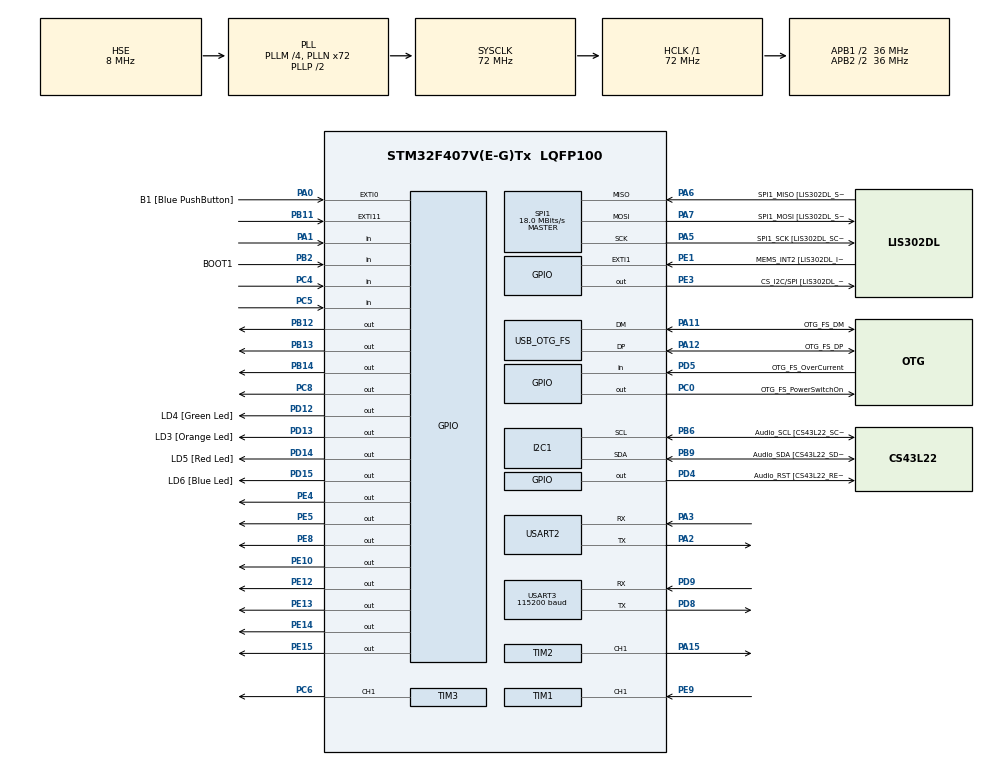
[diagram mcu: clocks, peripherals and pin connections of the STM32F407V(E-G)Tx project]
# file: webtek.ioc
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Mcu.Family=STM32F4
Mcu.Name=STM32F407V(E-G)Tx
Mcu.Package=LQFP100
NVIC.OTG_FS_IRQn=true\:0\:0\:false\:false\:true\:true\:true\:true
NVIC.PriorityGroup=NVIC_PRIORITYGROUP_0
NVIC.TIM1_CC_IRQn=true\:0\:0\:false\:false\:true\:true\:true\:true
PA0-WKUP.GPIO_Label=B1 [Blue PushButton]
PA0-WKUP.GPIO_ModeDefaultEXTI=GPIO_MODE_EVT_RISING
PA0-WKUP.GPIO_PuPd=GPIO_NOPULL
PA0-WKUP.Signal=GPXTI0
PA1.Signal=GPIO_Input
PA10.Signal=USART1_RX
PA11.GPIO_Label=OTG_FS_DM
PA11.GPIO_Mode=GPIO_MODE_AF_PP
PA11.GPIO_PuPd=GPIO_NOPULL
PA11.GPIO_Speed=GPIO_SPEED_FREQ_LOW
PA11.Mode=Host_Only
PA11.Signal=USB_OTG_FS_DM
PA12.GPIO_Label=OTG_FS_DP
PA12.GPIO_Mode=GPIO_MODE_AF_PP
PA12.GPIO_PuPd=GPIO_NOPULL
PA12.GPIO_Speed=GPIO_SPEED_FREQ_LOW
PA12.Mode=Host_Only
PA12.Signal=USB_OTG_FS_DP
PA13.GPIO_Label=SWDIO
PA13.Mode=Serial_Wire
PA13.Signal=SYS_JTMS-SWDIO
PA14.GPIO_Label=SWCLK
PA14.Mode=Serial_Wire
PA14.Signal=SYS_JTCK-SWCLK
PA15.Signal=S_TIM2_CH1_ETR
PA2.Mode=Asynchronous
PA2.Signal=USART2_TX
PA3.Mode=Asynchronous
PA3.Signal=USART2_RX
PA4.GPIO_Label=I2S3_WS [CS43L22_LRCK]
PA4.GPIO_Mode=GPIO_MODE_AF_PP
PA4.GPIO_PuPd=GPIO_NOPULL
PA4.GPIO_Speed=GPIO_SPEED_FREQ_LOW
PA4.Signal=I2S3_WS
PA5.GPIO_Label=SPI1_SCK [LIS302DL_SCL/SPC]
PA5.GPIO_Mode=GPIO_MODE_AF_PP
PA5.GPIO_PuPd=GPIO_NOPULL
PA5.GPIO_Speed=GPIO_SPEED_FREQ_LOW
PA5.Mode=Full_Duplex_Master
PA5.Signal=SPI1_SCK
PA6.GPIO_Label=SPI1_MISO [LIS302DL_SDO]
PA6.GPIO_Mode=GPIO_MODE_AF_PP
PA6.GPIO_PuPd=GPIO_NOPULL
PA6.GPIO_Speed=GPIO_SPEED_FREQ_LOW
PA6.Mode=Full_Duplex_Master
PA6.Signal=SPI1_MISO
PA7.GPIO_Label=SPI1_MOSI [LIS302DL_SDA/SDI/SDO]
PA7.GPIO_Mode=GPIO_MODE_AF_PP
PA7.GPIO_PuPd=GPIO_NOPULL
PA7.GPIO_Speed=GPIO_SPEED_FREQ_LOW
PA7.Mode=Full_Duplex_Master
PA7.Signal=SPI1_MOSI
PA9.Signal=USART1_TX
PB10.GPIO_Label=CLK_IN [MP45DT02_CLK]
PB10.GPIO_Mode=GPIO_MODE_AF_PP
PB10.GPIO_PuPd=GPIO_NOPULL
PB10.GPIO_Speed=GPIO_SPEED_FREQ_LOW
PB10.Signal=I2S2_CK
PB11.Signal=GPXTI11
PB12.Signal=GPIO_Output
PB13.Signal=GPIO_Output
PB14.Signal=GPIO_Output
PB2.GPIO_Label=BOOT1
PB2.GPIO_Mode=GPIO_MODE_INPUT
PB2.GPIO_PuPd=GPIO_NOPULL
PB2.Signal=GPIO_Input
PB3.GPIO_Label=SWO
PB3.Signal=SYS_JTDO-SWO
PB6.GPIO_Label=Audio_SCL [CS43L22_SCL]
PB6.GPIO_Mode=GPIO_MODE_AF_OD
PB6.GPIO_Pu=GPIO_PULLUP
PB6.GPIO_PuPd=GPIO_NOPULL
PB6.GPIO_Speed=GPIO_SPEED_FREQ_LOW
PB6.Mode=I2C
PB6.Signal=I2C1_SCL
PB9.GPIO_Label=Audio_SDA [CS43L22_SDA]
PB9.GPIO_Mode=GPIO_MODE_AF_OD
PB9.GPIO_Pu=GPIO_PULLUP
PB9.GPIO_PuPd=GPIO_NOPULL
PB9.GPIO_Speed=GPIO_SPEED_FREQ_LOW
PB9.Mode=I2C
PB9.Signal=I2C1_SDA
PC0.GPIO_Label=OTG_FS_PowerSwitchOn
PC0.GPIO_PuPd=GPIO_NOPULL
PC0.GPIO_Speed=GPIO_SPEED_FREQ_LOW
PC0.PinState=GPIO_PIN_SET
PC0.Signal=GPIO_Output
PC10.GPIO_Label=I2S3_SCK [CS43L22_SCLK]
PC10.GPIO_Mode=GPIO_MODE_AF_PP
PC10.GPIO_PuPd=GPIO_NOPULL
PC10.GPIO_Speed=GPIO_SPEED_FREQ_LOW
PC10.Signal=I2S3_CK
PC12.GPIO_Label=I2S3_SD [CS43L22_SDIN]
PC12.GPIO_Mode=GPIO_MODE_AF_PP
PC12.GPIO_PuPd=GPIO_NOPULL
PC12.GPIO_Speed=GPIO_SPEED_FREQ_LOW
PC12.Signal=I2S3_SD
PC14-OSC32_IN.GPIO_Label=PC14-OSC32_IN
PC14-OSC32_IN.Signal=RCC_OSC32_IN
PC15-OSC32_OUT.GPIO_Label=PC15-OSC32_OUT
PC15-OSC32_OUT.Signal=RCC_OSC32_OUT
PC3.GPIO_Label=PDM_OUT [MP45DT02_DOUT]
PC3.GPIO_Mode=GPIO_MODE_AF_PP
PC3.GPIO_PuPd=GPIO_NOPULL
PC3.GPIO_Speed=GPIO_SPEED_FREQ_LOW
PC3.Signal=I2S2_SD
PC4.Signal=GPIO_Input
PC5.Signal=GPIO_Input
PC6.Signal=S_TIM3_CH1
PC7.GPIO_Label=I2S3_MCK [CS43L22_MCLK]
PC7.GPIO_Mode=GPIO_MODE_AF_PP
PC7.GPIO_PuPd=GPIO_NOPULL
PC7.GPIO_Speed=GPIO_SPEED_FREQ_LOW
PC7.Signal=I2S3_MCK
PC8.Signal=GPIO_Output
PD12.GPIO_Label=LD4 [Green Led]
PD12.GPIO_PuPd=GPIO_NOPULL
PD12.GPIO_Speed=GPIO_SPEED_FREQ_LOW
PD12.Signal=GPIO_Output
PD13.GPIO_Label=LD3 [Orange Led]
PD13.GPIO_PuPd=GPIO_NOPULL
PD13.GPIO_Speed=GPIO_SPEED_FREQ_LOW
PD13.Signal=GPIO_Output
PD14.GPIO_Label=LD5 [Red Led]
PD14.GPIO_PuPd=GPIO_NOPULL
PD14.GPIO_Speed=GPIO_SPEED_FREQ_LOW
PD14.Signal=GPIO_Output
PD15.GPIO_Label=LD6 [Blue Led]
PD15.GPIO_PuPd=GPIO_NOPULL
PD15.GPIO_Speed=GPIO_SPEED_FREQ_LOW
PD15.Signal=GPIO_Output
PD4.GPIO_Label=Audio_RST [CS43L22_RESET]
PD4.GPIO_PuPd=GPIO_NOPULL
PD4.GPIO_Speed=GPIO_SPEED_FREQ_LOW
PD4.Signal=GPIO_Output
PD5.GPIO_Label=OTG_FS_OverCurrent
PD5.GPIO_Mode=GPIO_MODE_INPUT
PD5.GPIO_PuPd=GPIO_NOPULL
PD5.Signal=GPIO_Input
PD8.Mode=Asynchronous
PD8.Signal=USART3_TX
PD9.Mode=Asynchronous
PD9.Signal=USART3_RX
PE1.GPIO_Label=MEMS_INT2 [LIS302DL_INT2]
PE1.GPIO_ModeDefaultEXTI=GPIO_MODE_EVT_RISING
PE1.GPIO_PuPd=GPIO_NOPULL
PE1.Signal=GPXTI1
PE10.Signal=GPIO_Output
PE12.Signal=GPIO_Output
PE13.Signal=GPIO_Output
PE14.Signal=GPIO_Output
PE15.Signal=GPIO_Output
PE3.GPIO_Label=CS_I2C/SPI [LIS302DL_CS_I2C/SPI]
PE3.GPIO_PuPd=GPIO_NOPULL
PE3.GPIO_Speed=GPIO_SPEED_FREQ_LOW
PE3.Signal=GPIO_Output
PE4.Signal=GPIO_Output
PE5.Signal=GPIO_Output
PE8.Signal=GPIO_Output
PE9.Signal=S_TIM1_CH1
PH0-OSC_IN.GPIO_Label=PH0-OSC_IN
PH0-OSC_IN.Mode=HSE-External-Oscillator
PH0-OSC_IN.Signal=RCC_OSC_IN
PH1-OSC_OUT.GPIO_Label=PH1-OSC_OUT
PH1-OSC_OUT.Mode=HSE-External-Oscillator
PH1-OSC_OUT.Signal=RCC_OSC_OUT
ProjectManager.HeapSize=0x200
ProjectManager.StackSize=0x400
ProjectManager.TargetToolchain=STM32CubeIDE
RCC.48MHZClocksFreq_Value=48000000
RCC.AHBFreq_Value=72000000
RCC.APB1CLKDivider=RCC_HCLK_DIV2
RCC.APB1Freq_Value=36000000
RCC.APB1TimFreq_Value=72000000
RCC.APB2CLKDivider=RCC_HCLK_DIV2
RCC.APB2Freq_Value=36000000
RCC.APB2TimFreq_Value=72000000
RCC.CortexFreq_Value=72000000
RCC.HCLKFreq_Value=72000000
RCC.HSE_VALUE=8000000
RCC.HSI_VALUE=16000000
RCC.LSE_VALUE=32768
RCC.PLLI2SN=50
RCC.PLLM=4
RCC.PLLN=72
RCC.PLLQ=3
RCC.SYSCLKFreq_VALUE=72000000
RCC.SYSCLKSource=RCC_SYSCLKSOURCE_PLLCLK
RCC.VCOOutputFreq_Value=144000000
SH.S_TIM1_CH1.0=TIM1_CH1,Input_Capture1_from_TI1
SH.S_TIM2_CH1_ETR.0=TIM2_CH1,PWM Generation1 CH1
SH.S_TIM3_CH1.0=TIM3_CH1,PWM Generation1 CH1
SPI1.BaudRatePrescaler-Full_Duplex_Master=SPI_BAUDRATEPRESCALER_2
SPI1.CalculateBaudRate=18.0 MBits/s
SPI1.CalculateBaudRate-Full_Duplex_Master=42.0 MBits/s
SPI1.Direction=SPI_DIRECTION_2LINES
SPI1.Mode=SPI_MODE_MASTER
SPI1.Mode-Full_Duplex_Master=SPI_MODE_MASTER
SPI1.VirtualType=VM_MASTER
TIM1.Channel-Input_Capture1_from_TI1=TIM_CHANNEL_1
TIM1.Period=0xffff-1
TIM1.Prescaler=72-1
TIM2.Channel-PWM\ Generation1\ CH1=TIM_CHANNEL_1
TIM2.Period=1199
TIM2.Prescaler=1200
TIM3.Channel-PWM\ Generation1\ CH1=TIM_CHANNEL_1
TIM3.Period=1199
TIM3.Prescaler=1200
USART2.VirtualMode=VM_ASYNC
USART3.BaudRate=115200
USART3.VirtualMode=VM_ASYNC
USB_HOST.BSP.number=1
USB_HOST.USBH_HandleTypeDef-CDC_FS=hUsbHostFS
USB_HOST.VirtualModeFS=Cdc
USB_HOST0.BSP.STBoard=false
USB_HOST0.BSP.api=Unknown
USB_HOST0.BSP.i2caddr=0
USB_HOST0.BSP.i2creg=0
USB_HOST0.BSP.instance=PC0
USB_HOST0.BSP.ip=GPIO
USB_HOST0.BSP.mode=Output
USB_HOST0.BSP.name=Drive_VBUS_FS
USB_HOST0.BSP.solution=PC0
USB_OTG_FS.VirtualMode=Host_Only
USB_OTG_FS.phy_itface=HCD_PHY_EMBEDDED
VP_USB_HOST_VS_USB_HOST_CDC_FS.Mode=CDC_FS
board=STM32F407G-DISC1

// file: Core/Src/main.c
/* USER CODE BEGIN Header */
/**
 **********
 * @file           : main.c
 * @brief          : Main program body
 **********
 * @attention
 *
 * Copyright (c) 2023 STMicroelectronics.
 * All rights reserved.
 *
 * This software is licensed under terms that can be found in the LICENSE file
 * in the root directory of this software component.
 * If no LICENSE file comes with this software, it is provided AS-IS.
 *
 **********
 */
/* USER CODE END Header */
#include "main.h"
#include "usb_host.h"

/* USER CODE BEGIN Includes */
#include "string.h"
#include "stdio.h"
#include <stdlib.h>

#define TRIG_PIN GPIO_PIN_8
#define TRIG_PORT GPIOE

/* USER CODE END Includes */

 I2C_HandleTypeDef hi2c1;

SPI_HandleTypeDef hspi1;

TIM_HandleTypeDef htim1;
TIM_HandleTypeDef htim2;
TIM_HandleTypeDef htim3;

UART_HandleTypeDef huart2;
UART_HandleTypeDef huart3;

/* USER CODE BEGIN PV */
uint8_t yagmur_status =0;
uint16_t gaz_status =0;
uint8_t touch_status =0;
uint8_t mesafe_status =0;
uint8_t count=0;
uint32_t IC_Val1 = 0;
uint32_t IC_Val2 = 0;
uint32_t Difference = 0;
uint8_t Is_First_Captured = 0;  // is the first value captured ?
uint8_t Distance  = 0;
uint8_t i=0;
char data_take[8];
char data_send[6];
int data_cati=0;
int data_yanginbuzzer=0;
int data_fan=0;
int data_agilkapi=0;
int data_agilbuzzer=0;
int data_yem=0;
/* USER CODE END PV */

void SystemClock_Config(void);
static void MX_GPIO_Init(void);
static void MX_I2C1_Init(void);
static void MX_SPI1_Init(void);
static void MX_TIM1_Init(void);
static void MX_TIM2_Init(void);
static void MX_TIM3_Init(void);
static void MX_USART2_UART_Init(void);
static void MX_USART3_UART_Init(void);
void MX_USB_HOST_Process(void);

/* USER CODE BEGIN 0 */
void delay(uint16_t time)
{
	__HAL_TIM_SET_COUNTER(&htim1,0);
	while(__HAL_TIM_GET_COUNTER(&htim1)<time);
}
void HAL_TIM_IC_CaptureCallback(TIM_HandleTypeDef *htim)
{
	if (htim->Channel == HAL_TIM_ACTIVE_CHANNEL_1)  // if the interrupt source is channel1
	{
		if (Is_First_Captured==0) // if the first value is not captured
		{
			IC_Val1 = HAL_TIM_ReadCapturedValue(htim, TIM_CHANNEL_1); // read the first value
			Is_First_Captured = 1;  // set the first captured as true
			// Now change the polarity to falling edge
			__HAL_TIM_SET_CAPTUREPOLARITY(htim, TIM_CHANNEL_1, TIM_INPUTCHANNELPOLARITY_FALLING);
		}

		else if (Is_First_Captured==1)   // if the first is already captured
		{
			IC_Val2 = HAL_TIM_ReadCapturedValue(htim, TIM_CHANNEL_1);  // read second value
			__HAL_TIM_SET_COUNTER(htim, 0);  // reset the counter

			if (IC_Val2 > IC_Val1)
			{
				Difference = IC_Val2-IC_Val1;
			}

			else if (IC_Val1 > IC_Val2)
			{
				Difference = (0xffff - IC_Val1) + IC_Val2;
			}

			Distance = Difference * .034/2;
			Is_First_Captured = 0; // set it back to false

			// set polarity to rising edge
			__HAL_TIM_SET_CAPTUREPOLARITY(htim, TIM_CHANNEL_1, TIM_INPUTCHANNELPOLARITY_RISING);
			__HAL_TIM_DISABLE_IT(&htim1, TIM_IT_CC1);
		}
	}
}
void HCSR04_Read (void)// pe8 trig,pe9 echo
{
	HAL_GPIO_WritePin(TRIG_PORT, TRIG_PIN, GPIO_PIN_SET);  // pull the TRIG pin HIGH
	delay(10);  // wait for 10 us
	HAL_GPIO_WritePin(TRIG_PORT, TRIG_PIN, GPIO_PIN_RESET);  // pull the TRIG pin low

	__HAL_TIM_ENABLE_IT(&htim1, TIM_IT_CC1);
}

void catikontrol(void)
{
	HAL_UART_Transmit(&huart3, (uint8_t*)data_cati, 1, 100); //uart3 PD8->TX, PD9->RX
}

void yanginbuzzer(void)
{
	//gaz sensoru buzzer
	if(data_yanginbuzzer==1)
	{
		HAL_GPIO_WritePin(GPIOC, GPIO_PIN_8,GPIO_PIN_SET); //pc8 gaz buzzerı
	}
	else if(data_yanginbuzzer==2)
	{
		HAL_GPIO_WritePin(GPIOC, GPIO_PIN_8,GPIO_PIN_RESET); //pc8 gaz buzzerı
	}
}

void fankontrol(void)
{

	if(data_fan==1)
	{
		HAL_GPIO_WritePin(GPIOE, GPIO_PIN_12,GPIO_PIN_SET);
		HAL_GPIO_WritePin(GPIOE, GPIO_PIN_13,GPIO_PIN_RESET);
		HAL_GPIO_WritePin(GPIOE, GPIO_PIN_14,GPIO_PIN_RESET);
		HAL_GPIO_WritePin(GPIOE, GPIO_PIN_15,GPIO_PIN_RESET);
	}

	else if(data_fan==2)
	{
		HAL_GPIO_WritePin(GPIOE, GPIO_PIN_12,GPIO_PIN_RESET);
		HAL_GPIO_WritePin(GPIOE, GPIO_PIN_13,GPIO_PIN_SET);
		HAL_GPIO_WritePin(GPIOE, GPIO_PIN_14,GPIO_PIN_RESET);
		HAL_GPIO_WritePin(GPIOE, GPIO_PIN_15,GPIO_PIN_RESET);
	}

	else if(data_fan==3)
	{
		HAL_GPIO_WritePin(GPIOE, GPIO_PIN_12,GPIO_PIN_RESET);
		HAL_GPIO_WritePin(GPIOE, GPIO_PIN_13,GPIO_PIN_RESET);
		HAL_GPIO_WritePin(GPIOE, GPIO_PIN_14,GPIO_PIN_SET);
		HAL_GPIO_WritePin(GPIOE, GPIO_PIN_15,GPIO_PIN_RESET);
	}

	else if(data_fan==4)
	{
		HAL_GPIO_WritePin(GPIOE, GPIO_PIN_12,GPIO_PIN_RESET);
		HAL_GPIO_WritePin(GPIOE, GPIO_PIN_13,GPIO_PIN_RESET);
		HAL_GPIO_WritePin(GPIOE, GPIO_PIN_14,GPIO_PIN_RESET);
		HAL_GPIO_WritePin(GPIOE, GPIO_PIN_15,GPIO_PIN_SET);
	}

}

void agilkapisi(void)
{
	if(data_agilkapi == 1)
	{
		//kapı açmak için
		htim3.Instance->CCR1 = 25;  // duty cycle is 1.5 ms  //pc6
		//		HAL_Delay(2000);
	}
	else if(data_agilkapi == 0)
	{
		//kapı kapatmak için
		htim3.Instance->CCR1 = 75;  // duty cycle is .5 ms
		//		HAL_Delay(2000);
	}

}

void agilbuzzer(void)
{
	//agil buzzer
	if(data_agilbuzzer==1)
	{
		HAL_GPIO_WritePin(GPIOE, GPIO_PIN_10,GPIO_PIN_SET); //pe10 agil buzzerı
	}
	else if(data_agilbuzzer==0)
	{
		HAL_GPIO_WritePin(GPIOE, GPIO_PIN_10,GPIO_PIN_RESET); //pe10 agil buzzerı
	}

}

void yemlik(void)
{

	if(data_yem==1)
	{
		if(13<mesafe_status && mesafe_status<=16)
		{
			//kapı açmak için
			htim2.Instance->CCR1 = 25;  // duty cycle is 1.5 ms //pa15
			HAL_Delay(2000);
		}
	}
	else if(data_yem==2)
	{
		if(10<mesafe_status && mesafe_status<=13)
		{
			//kapı açmak için
			htim2.Instance->CCR1 = 25;  // duty cycle is 1.5 ms
			HAL_Delay(2000);
		}
	}
	else if(data_yem==3)
	{
		if(6<mesafe_status && mesafe_status<=10)
		{
			//kapı açmak için
			htim2.Instance->CCR1 = 25;  // duty cycle is 1.5 ms
			HAL_Delay(2000);
		}

	}
	//kapı kapatma kodu
	htim2.Instance->CCR1 = 75;  // duty cycle is .5 ms
	HAL_Delay(2000);

}

/* USER CODE END 0 */

int main(void)
{

  /* MCU Configuration--------------------------------------------------------*/

  /* Reset of all peripherals, Initializes the Flash interface and the Systick. */
  HAL_Init();

  /* USER
   * CODE BEGIN Init */

  /* USER CODE END Init */

  /* Configure the system clock */
  SystemClock_Config();

  /* Initialize all configured peripherals */
  MX_GPIO_Init();
  MX_I2C1_Init();
  MX_SPI1_Init();
  MX_USB_HOST_Init();
  MX_TIM1_Init();
  MX_TIM2_Init();
  MX_TIM3_Init();
  MX_USART2_UART_Init();
  MX_USART3_UART_Init();
  /* USER CODE BEGIN 2 */
	HAL_TIM_IC_Start_IT(&htim1, TIM_CHANNEL_1);
	HAL_TIM_PWM_Start(&htim2, TIM_CHANNEL_1);
	HAL_TIM_PWM_Start(&htim3, TIM_CHANNEL_1);
  /* USER CODE END 2 */

  /* Infinite loop */
  /* USER CODE BEGIN WHILE */
	while (1)
	{
		yagmur_status = HAL_GPIO_ReadPin(GPIOA, GPIO_PIN_1);
		if(yagmur_status==0)
		{
			data_send[0]='1';
		}
		else
		{
			data_send[0]='0';
		}

		gaz_status = HAL_GPIO_ReadPin(GPIOC, GPIO_PIN_4);
		if(gaz_status==0)
		{
			data_send[1]='1';
		}
		else
		{
			data_send[1]='0';
		}

		touch_status = HAL_GPIO_ReadPin(GPIOC, GPIO_PIN_5);
		if(touch_status==1)
		{
			count=count+1;

			if(count>9)
			{
				count=0;
			}

			HAL_Delay(500);
			char c=count+'0';
			data_send[2]=c;

		}

		HCSR04_Read();
		HAL_Delay(200);

		mesafe_status=Distance;

		if(mesafe_status==16)
		{
			data_send[3]=0+'0';
			data_send[4]=0+'0';
		}
		else if(mesafe_status==15)
		{
			data_send[3]=0+'0';
			data_send[4]=1+'0';
		}
		else if(mesafe_status==14)
		{
			data_send[3]=0+'0';
			data_send[4]=2+'0';
		}
		else if(mesafe_status==13)
		{
			data_send[3]=0+'0';
			data_send[4]=3+'0';
		}
		else if(mesafe_status==12)
		{
			data_send[3]=0+'0';
			data_send[4]=4+'0';
		}
		else if(mesafe_status==11)
		{
			data_send[3]=0+'0';
			data_send[4]=5+'0';
		}
		else if(mesafe_status==10)
		{
			data_send[3]=0+'0';
			data_send[4]=6+'0';
		}
		else if(mesafe_status==9)
		{
			data_send[3]=0+'0';
			data_send[4]=7+'0';
		}

		else if(mesafe_status==8)
		{
			data_send[3]=0+'0';
			data_send[4]=8+'0';
		}

		else if(mesafe_status==7)
		{
			data_send[3]=0+'0';
			data_send[4]=9+'0';
		}

		else if(mesafe_status<=6)
		{
			data_send[3]=1+'0';
			data_send[4]=0+'0';
		}

		data_send[3]=((mesafe_status)/10)+'0';
		data_send[4]=((mesafe_status)%10)+'0';

		data_send[5]='>';

		HAL_UART_Transmit(&huart2, data_send, 6, 100);

		HAL_UART_Receive(&huart2, data_take, 7,2000); //pa2 tx, pa3 rx

		data_cati = data_take[1]-'0';
		data_yanginbuzzer = data_take[2]-'0';
		data_fan = data_take[3]-'0';
		data_agilkapi = data_take[4]-'0';
		data_agilbuzzer = data_take[5]-'0';
		data_yem = data_take[6]-'0';

		catikontrol();
		yanginbuzzer();
		fankontrol();
		agilkapisi();
		agilbuzzer();
		yemlik();

		//		//kapı kapatma kodu
		//		htim2.Instance->CCR1 = 25;  // duty cycle is .5 ms
		//		HAL_Delay(2000);
		//		//kapı açmak için
		//		htim2.Instance->CCR1 = 75;  // duty cycle is 1.5 ms
		//		HAL_Delay(2000);
		//kapı açmak için
		//		htim2.Instance->CCR1 = 125;  // duty cycle is 2.5 ms
		//		HAL_Delay(2000);

		//		htim3.Instance->CCR1 = 25;  // duty cycle is .5 ms
		//		HAL_Delay(2000);
		//		htim3.Instance->CCR1 = 75;  // duty cycle is 1.5 ms
		//		HAL_Delay(2000);
		//		htim3.Instance->CCR1 = 125;  // duty cycle is 2.5 ms
		//		HAL_Delay(2000);

    /* USER CODE END WHILE */
    MX_USB_HOST_Process();

	}
}

void SystemClock_Config(void)
{
  RCC_OscInitTypeDef RCC_OscInitStruct = {0};
  RCC_ClkInitTypeDef RCC_ClkInitStruct = {0};

  /** Configure the main internal regulator output voltage
  */
  __HAL_RCC_PWR_CLK_ENABLE();
  __HAL_PWR_VOLTAGESCALING_CONFIG(PWR_REGULATOR_VOLTAGE_SCALE1);

  /** Initializes the RCC Oscillators according to the specified parameters
  * in the RCC_OscInitTypeDef structure.
  */
  RCC_OscInitStruct.OscillatorType = RCC_OSCILLATORTYPE_HSE;
  RCC_OscInitStruct.HSEState = RCC_HSE_ON;
  RCC_OscInitStruct.PLL.PLLState = RCC_PLL_ON;
  RCC_OscInitStruct.PLL.PLLSource = RCC_PLLSOURCE_HSE;
  RCC_OscInitStruct.PLL.PLLM = 4;
  RCC_OscInitStruct.PLL.PLLN = 72;
  RCC_OscInitStruct.PLL.PLLP = RCC_PLLP_DIV2;
  RCC_OscInitStruct.PLL.PLLQ = 3;
  if (HAL_RCC_OscConfig(&RCC_OscInitStruct) != HAL_OK)
  {
    Error_Handler();
  }

  /** Initializes the CPU, AHB and APB buses clocks
  */
  RCC_ClkInitStruct.ClockType = RCC_CLOCKTYPE_HCLK|RCC_CLOCKTYPE_SYSCLK
                              |RCC_CLOCKTYPE_PCLK1|RCC_CLOCKTYPE_PCLK2;
  RCC_ClkInitStruct.SYSCLKSource = RCC_SYSCLKSOURCE_PLLCLK;
  RCC_ClkInitStruct.AHBCLKDivider = RCC_SYSCLK_DIV1;
  RCC_ClkInitStruct.APB1CLKDivider = RCC_HCLK_DIV2;
  RCC_ClkInitStruct.APB2CLKDivider = RCC_HCLK_DIV2;

  if (HAL_RCC_ClockConfig(&RCC_ClkInitStruct, FLASH_LATENCY_2) != HAL_OK)
  {
    Error_Handler();
  }
}

static void MX_I2C1_Init(void)
{

  hi2c1.Instance = I2C1;
  hi2c1.Init.ClockSpeed = 100000;
  hi2c1.Init.DutyCycle = I2C_DUTYCYCLE_2;
  hi2c1.Init.OwnAddress1 = 0;
  hi2c1.Init.AddressingMode = I2C_ADDRESSINGMODE_7BIT;
  hi2c1.Init.DualAddressMode = I2C_DUALADDRESS_DISABLE;
  hi2c1.Init.OwnAddress2 = 0;
  hi2c1.Init.GeneralCallMode = I2C_GENERALCALL_DISABLE;
  hi2c1.Init.NoStretchMode = I2C_NOSTRETCH_DISABLE;
  if (HAL_I2C_Init(&hi2c1) != HAL_OK)
  {
    Error_Handler();
  }

}

static void MX_SPI1_Init(void)
{

  /* SPI1 parameter configuration*/
  hspi1.Instance = SPI1;
  hspi1.Init.Mode = SPI_MODE_MASTER;
  hspi1.Init.Direction = SPI_DIRECTION_2LINES;
  hspi1.Init.DataSize = SPI_DATASIZE_8BIT;
  hspi1.Init.CLKPolarity = SPI_POLARITY_LOW;
  hspi1.Init.CLKPhase = SPI_PHASE_1EDGE;
  hspi1.Init.NSS = SPI_NSS_SOFT;
  hspi1.Init.BaudRatePrescaler = SPI_BAUDRATEPRESCALER_2;
  hspi1.Init.FirstBit = SPI_FIRSTBIT_MSB;
  hspi1.Init.TIMode = SPI_TIMODE_DISABLE;
  hspi1.Init.CRCCalculation = SPI_CRCCALCULATION_DISABLE;
  hspi1.Init.CRCPolynomial = 10;
  if (HAL_SPI_Init(&hspi1) != HAL_OK)
  {
    Error_Handler();
  }

}

static void MX_TIM1_Init(void)
{

  TIM_MasterConfigTypeDef sMasterConfig = {0};
  TIM_IC_InitTypeDef sConfigIC = {0};

  htim1.Instance = TIM1;
  htim1.Init.Prescaler = 72-1;
  htim1.Init.CounterMode = TIM_COUNTERMODE_UP;
  htim1.Init.Period = 0xffff-1;
  htim1.Init.ClockDivision = TIM_CLOCKDIVISION_DIV1;
  htim1.Init.RepetitionCounter = 0;
  htim1.Init.AutoReloadPreload = TIM_AUTORELOAD_PRELOAD_DISABLE;
  if (HAL_TIM_IC_Init(&htim1) != HAL_OK)
  {
    Error_Handler();
  }
  sMasterConfig.MasterOutputTrigger = TIM_TRGO_RESET;
  sMasterConfig.MasterSlaveMode = TIM_MASTERSLAVEMODE_DISABLE;
  if (HAL_TIMEx_MasterConfigSynchronization(&htim1, &sMasterConfig) != HAL_OK)
  {
    Error_Handler();
  }
  sConfigIC.ICPolarity = TIM_INPUTCHANNELPOLARITY_RISING;
  sConfigIC.ICSelection = TIM_ICSELECTION_DIRECTTI;
  sConfigIC.ICPrescaler = TIM_ICPSC_DIV1;
  sConfigIC.ICFilter = 0;
  if (HAL_TIM_IC_ConfigChannel(&htim1, &sConfigIC, TIM_CHANNEL_1) != HAL_OK)
  {
    Error_Handler();
  }

}

static void MX_TIM2_Init(void)
{

  TIM_MasterConfigTypeDef sMasterConfig = {0};
  TIM_OC_InitTypeDef sConfigOC = {0};

  htim2.Instance = TIM2;
  htim2.Init.Prescaler = 1200;
  htim2.Init.CounterMode = TIM_COUNTERMODE_UP;
  htim2.Init.Period = 1199;
  htim2.Init.ClockDivision = TIM_CLOCKDIVISION_DIV1;
  htim2.Init.AutoReloadPreload = TIM_AUTORELOAD_PRELOAD_DISABLE;
  if (HAL_TIM_PWM_Init(&htim2) != HAL_OK)
  {
    Error_Handler();
  }
  sMasterConfig.MasterOutputTrigger = TIM_TRGO_RESET;
  sMasterConfig.MasterSlaveMode = TIM_MASTERSLAVEMODE_DISABLE;
  if (HAL_TIMEx_MasterConfigSynchronization(&htim2, &sMasterConfig) != HAL_OK)
  {
    Error_Handler();
  }
  sConfigOC.OCMode = TIM_OCMODE_PWM1;
  sConfigOC.Pulse = 0;
  sConfigOC.OCPolarity = TIM_OCPOLARITY_HIGH;
  sConfigOC.OCFastMode = TIM_OCFAST_DISABLE;
  if (HAL_TIM_PWM_ConfigChannel(&htim2, &sConfigOC, TIM_CHANNEL_1) != HAL_OK)
  {
    Error_Handler();
  }
  HAL_TIM_MspPostInit(&htim2);

}

static void MX_TIM3_Init(void)
{

  TIM_MasterConfigTypeDef sMasterConfig = {0};
  TIM_OC_InitTypeDef sConfigOC = {0};

  htim3.Instance = TIM3;
  htim3.Init.Prescaler = 1200;
  htim3.Init.CounterMode = TIM_COUNTERMODE_UP;
  htim3.Init.Period = 1199;
  htim3.Init.ClockDivision = TIM_CLOCKDIVISION_DIV1;
  htim3.Init.AutoReloadPreload = TIM_AUTORELOAD_PRELOAD_DISABLE;
  if (HAL_TIM_PWM_Init(&htim3) != HAL_OK)
  {
    Error_Handler();
  }
  sMasterConfig.MasterOutputTrigger = TIM_TRGO_RESET;
  sMasterConfig.MasterSlaveMode = TIM_MASTERSLAVEMODE_DISABLE;
  if (HAL_TIMEx_MasterConfigSynchronization(&htim3, &sMasterConfig) != HAL_OK)
  {
    Error_Handler();
  }
  sConfigOC.OCMode = TIM_OCMODE_PWM1;
  sConfigOC.Pulse = 0;
  sConfigOC.OCPolarity = TIM_OCPOLARITY_HIGH;
  sConfigOC.OCFastMode = TIM_OCFAST_DISABLE;
  if (HAL_TIM_PWM_ConfigChannel(&htim3, &sConfigOC, TIM_CHANNEL_1) != HAL_OK)
  {
    Error_Handler();
  }
  HAL_TIM_MspPostInit(&htim3);

}

static void MX_USART2_UART_Init(void)
{

  huart2.Instance = USART2;
  huart2.Init.BaudRate = 115200;
  huart2.Init.WordLength = UART_WORDLENGTH_8B;
  huart2.Init.StopBits = UART_STOPBITS_1;
  huart2.Init.Parity = UART_PARITY_NONE;
  huart2.Init.Mode = UART_MODE_TX_RX;
  huart2.Init.HwFlowCtl = UART_HWCONTROL_NONE;
  huart2.Init.OverSampling = UART_OVERSAMPLING_16;
  if (HAL_UART_Init(&huart2) != HAL_OK)
  {
    Error_Handler();
  }

}

static void MX_USART3_UART_Init(void)
{

  huart3.Instance = USART3;
  huart3.Init.BaudRate = 115200;
  huart3.Init.WordLength = UART_WORDLENGTH_8B;
  huart3.Init.StopBits = UART_STOPBITS_1;
  huart3.Init.Parity = UART_PARITY_NONE;
  huart3.Init.Mode = UART_MODE_TX_RX;
  huart3.Init.HwFlowCtl = UART_HWCONTROL_NONE;
  huart3.Init.OverSampling = UART_OVERSAMPLING_16;
  if (HAL_UART_Init(&huart3) != HAL_OK)
  {
    Error_Handler();
  }

}

static void MX_GPIO_Init(void)
{
  GPIO_InitTypeDef GPIO_InitStruct = {0};

  /* GPIO Ports Clock Enable */
  __HAL_RCC_GPIOE_CLK_ENABLE();
  __HAL_RCC_GPIOC_CLK_ENABLE();
  __HAL_RCC_GPIOH_CLK_ENABLE();
  __HAL_RCC_GPIOA_CLK_ENABLE();
  __HAL_RCC_GPIOB_CLK_ENABLE();
  __HAL_RCC_GPIOD_CLK_ENABLE();

  /*Configure GPIO pin Output Level */
  HAL_GPIO_WritePin(GPIOE, CS_I2C_SPI_Pin|GPIO_PIN_4|GPIO_PIN_5|GPIO_PIN_8
                          |GPIO_PIN_10|GPIO_PIN_12|GPIO_PIN_13|GPIO_PIN_14
                          |GPIO_PIN_15, GPIO_PIN_RESET);

  /*Configure GPIO pin Output Level */
  HAL_GPIO_WritePin(OTG_FS_PowerSwitchOn_GPIO_Port, OTG_FS_PowerSwitchOn_Pin, GPIO_PIN_SET);

  /*Configure GPIO pin Output Level */
  HAL_GPIO_WritePin(GPIOB, GPIO_PIN_12|GPIO_PIN_13|GPIO_PIN_14, GPIO_PIN_RESET);

  /*Configure GPIO pin Output Level */
  HAL_GPIO_WritePin(GPIOD, LD4_Pin|LD3_Pin|LD5_Pin|LD6_Pin
                          |Audio_RST_Pin, GPIO_PIN_RESET);

  /*Configure GPIO pin Output Level */
  HAL_GPIO_WritePin(GPIOC, GPIO_PIN_8, GPIO_PIN_RESET);

  /*Configure GPIO pins : CS_I2C_SPI_Pin PE4 PE5 PE8
                           PE10 PE12 PE13 PE14
                           PE15 */
  GPIO_InitStruct.Pin = CS_I2C_SPI_Pin|GPIO_PIN_4|GPIO_PIN_5|GPIO_PIN_8
                          |GPIO_PIN_10|GPIO_PIN_12|GPIO_PIN_13|GPIO_PIN_14
                          |GPIO_PIN_15;
  GPIO_InitStruct.Mode = GPIO_MODE_OUTPUT_PP;
  GPIO_InitStruct.Pull = GPIO_NOPULL;
  GPIO_InitStruct.Speed = GPIO_SPEED_FREQ_LOW;
  HAL_GPIO_Init(GPIOE, &GPIO_InitStruct);

  /*Configure GPIO pins : OTG_FS_PowerSwitchOn_Pin PC8 */
  GPIO_InitStruct.Pin = OTG_FS_PowerSwitchOn_Pin|GPIO_PIN_8;
  GPIO_InitStruct.Mode = GPIO_MODE_OUTPUT_PP;
  GPIO_InitStruct.Pull = GPIO_NOPULL;
  GPIO_InitStruct.Speed = GPIO_SPEED_FREQ_LOW;
  HAL_GPIO_Init(GPIOC, &GPIO_InitStruct);

  /*Configure GPIO pin : PDM_OUT_Pin */
  GPIO_InitStruct.Pin = PDM_OUT_Pin;
  GPIO_InitStruct.Mode = GPIO_MODE_AF_PP;
  GPIO_InitStruct.Pull = GPIO_NOPULL;
  GPIO_InitStruct.Speed = GPIO_SPEED_FREQ_LOW;
  GPIO_InitStruct.Alternate = GPIO_AF5_SPI2;
  HAL_GPIO_Init(PDM_OUT_GPIO_Port, &GPIO_InitStruct);

  /*Configure GPIO pin : B1_Pin */
  GPIO_InitStruct.Pin = B1_Pin;
  GPIO_InitStruct.Mode = GPIO_MODE_EVT_RISING;
  GPIO_InitStruct.Pull = GPIO_NOPULL;
  HAL_GPIO_Init(B1_GPIO_Port, &GPIO_InitStruct);

  /*Configure GPIO pin : PA1 */
  GPIO_InitStruct.Pin = GPIO_PIN_1;
  GPIO_InitStruct.Mode = GPIO_MODE_INPUT;
  GPIO_InitStruct.Pull = GPIO_NOPULL;
  HAL_GPIO_Init(GPIOA, &GPIO_InitStruct);

  /*Configure GPIO pin : I2S3_WS_Pin */
  GPIO_InitStruct.Pin = I2S3_WS_Pin;
  GPIO_InitStruct.Mode = GPIO_MODE_AF_PP;
  GPIO_InitStruct.Pull = GPIO_NOPULL;
  GPIO_InitStruct.Speed = GPIO_SPEED_FREQ_LOW;
  GPIO_InitStruct.Alternate = GPIO_AF6_SPI3;
  HAL_GPIO_Init(I2S3_WS_GPIO_Port, &GPIO_InitStruct);

  /*Configure GPIO pins : PC4 PC5 */
  GPIO_InitStruct.Pin = GPIO_PIN_4|GPIO_PIN_5;
  GPIO_InitStruct.Mode = GPIO_MODE_INPUT;
  GPIO_InitStruct.Pull = GPIO_NOPULL;
  HAL_GPIO_Init(GPIOC, &GPIO_InitStruct);

  /*Configure GPIO pin : BOOT1_Pin */
  GPIO_InitStruct.Pin = BOOT1_Pin;
  GPIO_InitStruct.Mode = GPIO_MODE_INPUT;
  GPIO_InitStruct.Pull = GPIO_NOPULL;
  HAL_GPIO_Init(BOOT1_GPIO_Port, &GPIO_InitStruct);

  /*Configure GPIO pin : CLK_IN_Pin */
  GPIO_InitStruct.Pin = CLK_IN_Pin;
  GPIO_InitStruct.Mode = GPIO_MODE_AF_PP;
  GPIO_InitStruct.Pull = GPIO_NOPULL;
  GPIO_InitStruct.Speed = GPIO_SPEED_FREQ_LOW;
  GPIO_InitStruct.Alternate = GPIO_AF5_SPI2;
  HAL_GPIO_Init(CLK_IN_GPIO_Port, &GPIO_InitStruct);

  /*Configure GPIO pin : PB11 */
  GPIO_InitStruct.Pin = GPIO_PIN_11;
  GPIO_InitStruct.Mode = GPIO_MODE_IT_RISING;
  GPIO_InitStruct.Pull = GPIO_NOPULL;
  HAL_GPIO_Init(GPIOB, &GPIO_InitStruct);

  /*Configure GPIO pins : PB12 PB13 PB14 */
  GPIO_InitStruct.Pin = GPIO_PIN_12|GPIO_PIN_13|GPIO_PIN_14;
  GPIO_InitStruct.Mode = GPIO_MODE_OUTPUT_PP;
  GPIO_InitStruct.Pull = GPIO_NOPULL;
  GPIO_InitStruct.Speed = GPIO_SPEED_FREQ_LOW;
  HAL_GPIO_Init(GPIOB, &GPIO_InitStruct);

  /*Configure GPIO pins : LD4_Pin LD3_Pin LD5_Pin LD6_Pin
                           Audio_RST_Pin */
  GPIO_InitStruct.Pin = LD4_Pin|LD3_Pin|LD5_Pin|LD6_Pin
                          |Audio_RST_Pin;
  GPIO_InitStruct.Mode = GPIO_MODE_OUTPUT_PP;
  GPIO_InitStruct.Pull = GPIO_NOPULL;
  GPIO_InitStruct.Speed = GPIO_SPEED_FREQ_LOW;
  HAL_GPIO_Init(GPIOD, &GPIO_InitStruct);

  /*Configure GPIO pins : I2S3_MCK_Pin I2S3_SCK_Pin I2S3_SD_Pin */
  GPIO_InitStruct.Pin = I2S3_MCK_Pin|I2S3_SCK_Pin|I2S3_SD_Pin;
  GPIO_InitStruct.Mode = GPIO_MODE_AF_PP;
  GPIO_InitStruct.Pull = GPIO_NOPULL;
  GPIO_InitStruct.Speed = GPIO_SPEED_FREQ_LOW;
  GPIO_InitStruct.Alternate = GPIO_AF6_SPI3;
  HAL_GPIO_Init(GPIOC, &GPIO_InitStruct);

  /*Configure GPIO pins : PA9 PA10 */
  GPIO_InitStruct.Pin = GPIO_PIN_9|GPIO_PIN_10;
  GPIO_InitStruct.Mode = GPIO_MODE_AF_PP;
  GPIO_InitStruct.Pull = GPIO_NOPULL;
  GPIO_InitStruct.Speed = GPIO_SPEED_FREQ_VERY_HIGH;
  GPIO_InitStruct.Alternate = GPIO_AF7_USART1;
  HAL_GPIO_Init(GPIOA, &GPIO_InitStruct);

  /*Configure GPIO pin : OTG_FS_OverCurrent_Pin */
  GPIO_InitStruct.Pin = OTG_FS_OverCurrent_Pin;
  GPIO_InitStruct.Mode = GPIO_MODE_INPUT;
  GPIO_InitStruct.Pull = GPIO_NOPULL;
  HAL_GPIO_Init(OTG_FS_OverCurrent_GPIO_Port, &GPIO_InitStruct);

  /*Configure GPIO pin : MEMS_INT2_Pin */
  GPIO_InitStruct.Pin = MEMS_INT2_Pin;
  GPIO_InitStruct.Mode = GPIO_MODE_EVT_RISING;
  GPIO_InitStruct.Pull = GPIO_NOPULL;
  HAL_GPIO_Init(MEMS_INT2_GPIO_Port, &GPIO_InitStruct);

}

void Error_Handler(void)
{
	__disable_irq();
	while (1)
	{
	}
}
